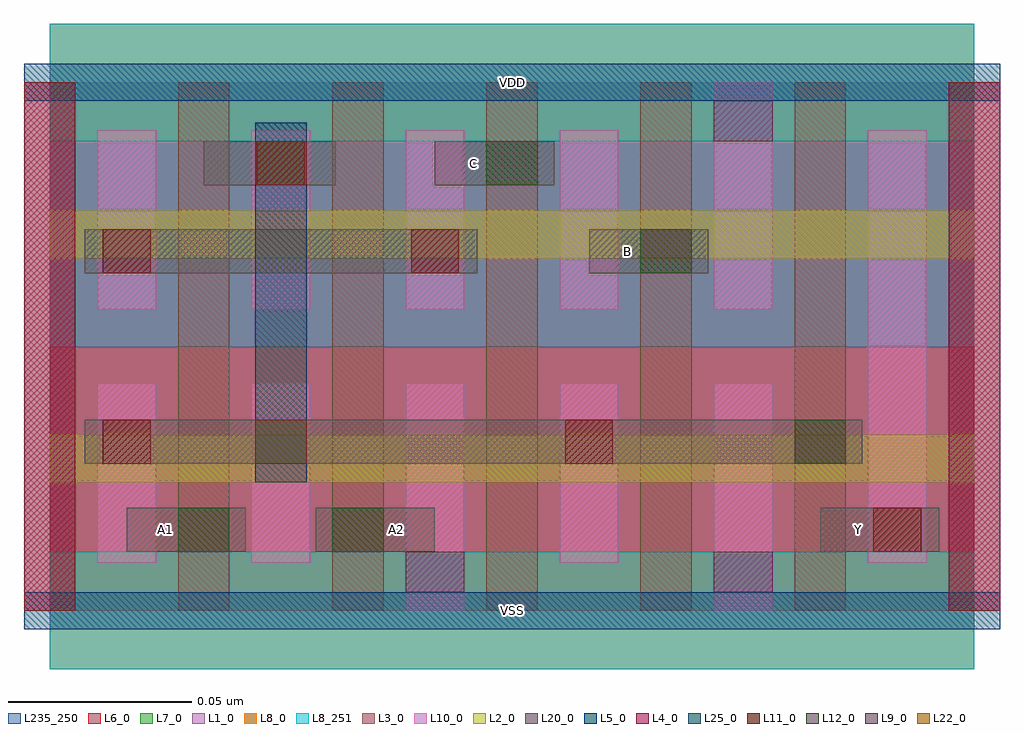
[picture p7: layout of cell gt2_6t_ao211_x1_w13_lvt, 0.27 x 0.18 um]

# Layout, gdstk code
import gdstk
lib = gdstk.Library(unit=1e-6, precision=5e-10)
def R(c, l, rs):  # rectangles x0, y0, x1, y1
    for r in rs: c.add(gdstk.rectangle(r[:2], r[2:], *l))
def A(c, l, x, y, w, h, nx, ny, dx, dy):  # array of equal rectangles
    R(c, l, [(x+i*dx, y+j*dy, x+i*dx+w, y+j*dy+h) for i in range(nx) for j in range(ny)])
L1_0 = (1, 0)
L2_0 = (2, 0)
L3_0 = (3, 0)
L4_0 = (4, 0)
L5_0 = (5, 0)
L6_0 = (6, 0)
L7_0 = (7, 0)
L8_0 = (8, 0)
L8_251 = (8, 251)
L9_0 = (9, 0)
L10_0 = (10, 0)
L11_0 = (11, 0)
L12_0 = (12, 0)
L20_0 = (20, 0)
L22_0 = (22, 0)
L25_0 = (25, 0)
L235_250 = (235, 250)

gt2_6t_ao211_x1_w13_lvt = lib.new_cell('gt2_6t_ao211_x1_w13_lvt')
R(gt2_6t_ao211_x1_w13_lvt, L1_0, [(0,0.072,0.252,0.144)])
R(gt2_6t_ao211_x1_w13_lvt, L2_0, [(0,0.035,0.252,0.048), (0,0.096,0.252,0.109)])
A(gt2_6t_ao211_x1_w13_lvt, L3_0, -0.007, 0, 0.014, 0.144, 7, 1, 0.042, 0)
R(gt2_6t_ao211_x1_w13_lvt, L4_0, [(-0.007,0,0.007,0.144), (0.245,0,0.259,0.144)])
R(gt2_6t_ao211_x1_w13_lvt, L5_0, [(-0.007,-0.005,0.259,0.005), (-0.007,0.139,0.259,0.149)])
R(gt2_6t_ao211_x1_w13_lvt, L6_0, [(0,0,0.252,0.072)])
R(gt2_6t_ao211_x1_w13_lvt, L7_0, [(0,0.072,0.252,0.144)])
R(gt2_6t_ao211_x1_w13_lvt, L8_0, [(0,-0.016,0.252,0.016), (0,0.128,0.252,0.16)])
R(gt2_6t_ao211_x1_w13_lvt, L8_251, [(0,-0.016,0.252,0.016), (0,0.128,0.252,0.16)])
R(gt2_6t_ao211_x1_w13_lvt, L9_0, [(0.097,0.005,0.113,0.016), (0.181,0.005,0.197,0.016), (0.181,0.128,0.197,0.139)])
A(gt2_6t_ao211_x1_w13_lvt, L10_0, 0.013, 0.082, 0.016, 0.049, 4, 1, 0.042, 0)
R(gt2_6t_ao211_x1_w13_lvt, L10_0, [(0.097,0,0.113,0.062), (0.181,0,0.197,0.062), (0.013,0.013,0.029,0.062), (0.055,0.013,0.071,0.062), (0.139,0.013,0.155,0.062), (0.223,0.013,0.239,0.131), (0.181,0.082,0.197,0.144)])
R(gt2_6t_ao211_x1_w13_lvt, L11_0, [(0.2245,0.016,0.2375,0.028), (0.0145,0.04,0.0275,0.052), (0.1405,0.04,0.1535,0.052), (0.0145,0.092,0.0275,0.104), (0.0985,0.092,0.1115,0.104), (0.0565,0.116,0.0695,0.128)])
R(gt2_6t_ao211_x1_w13_lvt, L12_0, [(0.035,0.016,0.049,0.028), (0.077,0.016,0.091,0.028), (0.203,0.04,0.217,0.052), (0.161,0.092,0.175,0.104), (0.119,0.116,0.133,0.128)])
R(gt2_6t_ao211_x1_w13_lvt, L20_0, [(0.021,0.016,0.0535,0.028), (0.0725,0.016,0.105,0.028), (0.21,0.016,0.2425,0.028), (0.0095,0.04,0.2215,0.052), (0.0095,0.092,0.1165,0.104), (0.147,0.092,0.1795,0.104), (0.042,0.116,0.078,0.128), (0.105,0.116,0.1375,0.128)])
R(gt2_6t_ao211_x1_w13_lvt, L22_0, [(0.056,0.04,0.07,0.052), (0.056,0.116,0.07,0.128)])
R(gt2_6t_ao211_x1_w13_lvt, L25_0, [(0.056,0.035,0.07,0.133)])
R(gt2_6t_ao211_x1_w13_lvt, L235_250, [(0,0,0.252,0.144)])
gt2_6t_ao211_x1_w13_lvt.add(gdstk.Label('VSS', (0.126,0), layer=8, texttype=251))
gt2_6t_ao211_x1_w13_lvt.add(gdstk.Label('VDD', (0.126,0.144), layer=8, texttype=251))
gt2_6t_ao211_x1_w13_lvt.add(gdstk.Label('C', (0.1155,0.122), layer=20, texttype=251))
gt2_6t_ao211_x1_w13_lvt.add(gdstk.Label('Y', (0.2205,0.022), layer=20, texttype=251))
gt2_6t_ao211_x1_w13_lvt.add(gdstk.Label('A1', (0.0315,0.022), layer=20, texttype=251))
gt2_6t_ao211_x1_w13_lvt.add(gdstk.Label('A2', (0.0945,0.022), layer=20, texttype=251))
gt2_6t_ao211_x1_w13_lvt.add(gdstk.Label('B', (0.1575,0.098), layer=20, texttype=251))

lib.write_gds('gt2_6t_ao211_x1_w13_lvt.gds')
